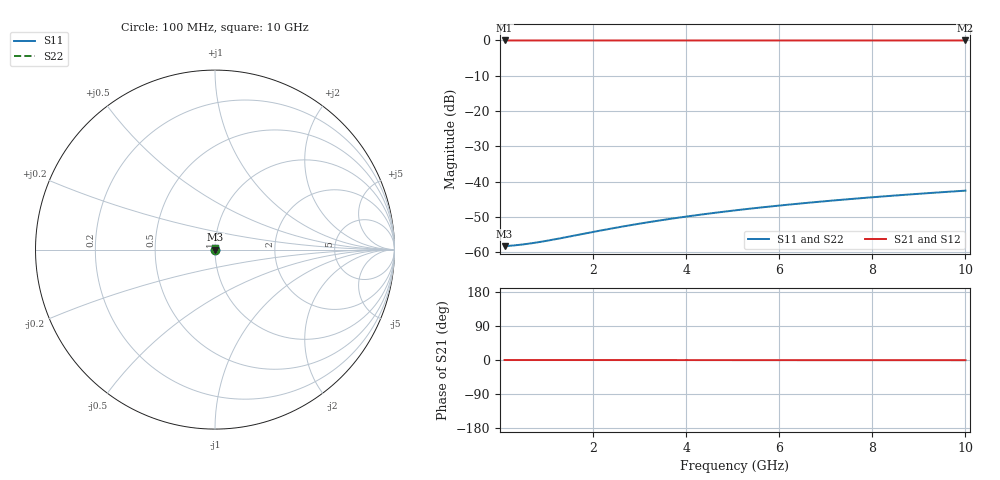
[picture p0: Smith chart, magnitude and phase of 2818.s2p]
# Hz S RI R 50.00
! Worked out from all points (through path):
!   100 points, 100 MHz to 10 GHz, reference 50 ohm
!   highest |S21| = -0.01 dB at 100 MHz (marker M1); lowest = 0.0 dB at 10 GHz (marker M2)
!   lowest |S11| = -58.2 dB at 100 MHz (marker M3), VSWR 1.00, Z = 50.1 + j0.00734 ohm
!   |S11| at or under -10 dB: start of sweep to end of sweep
!   |S22| runs from -58.2 to -42.5 dB; largest |S21 - S12| = 0
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1e8  0.00122 7.32e-05  0.9988 -9.72e-05  0.9988 -9.72e-05  0.00122 7.32e-05
4e8  0.00124 0.000293  0.9988 -0.000389  0.9988 -0.000389  0.00124 0.000293
6e8  0.00125 0.000439  0.9988 -0.000583  0.9988 -0.000583  0.00125 0.000439
8e8  0.00125 0.000586  0.9987 -0.000778  0.9987 -0.000778  0.00125 0.000586
1e9  0.00126 0.000732  0.9987 -0.000972  0.9987 -0.000972  0.00126 0.000732
1.2e9  0.00126 0.000878  0.9987 -0.00117  0.9987 -0.00117  0.00126 0.000878
1.8e9  0.00128 0.00132  0.9987 -0.00175  0.9987 -0.00175  0.00128 0.00132
2.2e9  0.00128 0.00161  0.9987 -0.00214  0.9987 -0.00214  0.00128 0.00161
2.6e9  0.00129 0.0019  0.9987 -0.00253  0.9987 -0.00253  0.00129 0.0019
3e9  0.00129 0.0022  0.9987 -0.00292  0.9987 -0.00292  0.00129 0.0022
3.4e9  0.0013 0.00249  0.9987 -0.00331  0.9987 -0.00331  0.0013 0.00249
3.8e9  0.00131 0.00278  0.9987 -0.0037  0.9987 -0.0037  0.00131 0.00278
4.2e9  0.00131 0.00308  0.9987 -0.00409  0.9987 -0.00409  0.00131 0.00308
4.6e9  0.00132 0.00337  0.9987 -0.00448  0.9987 -0.00448  0.00132 0.00337
5.1e9  0.00132 0.00374  0.9987 -0.00496  0.9987 -0.00496  0.00132 0.00374
5.5e9  0.00133 0.00403  0.9987 -0.00535  0.9987 -0.00535  0.00133 0.00403
5.9e9  0.00134 0.00432  0.9987 -0.00574  0.9987 -0.00574  0.00134 0.00432
6.7e9  0.00135 0.00491  0.9986 -0.00652  0.9986 -0.00652  0.00135 0.00491
7.5e9  0.00136 0.0055  0.9986 -0.0073  0.9986 -0.0073  0.00136 0.0055
8.4e9  0.00138 0.00616  0.9986 -0.00818  0.9986 -0.00818  0.00138 0.00616
9.2e9  0.00139 0.00675  0.9986 -0.00897  0.9986 -0.00897  0.00139 0.00675
1e10  0.00141 0.00734  0.9986 -0.00975  0.9986 -0.00975  0.00141 0.00734
